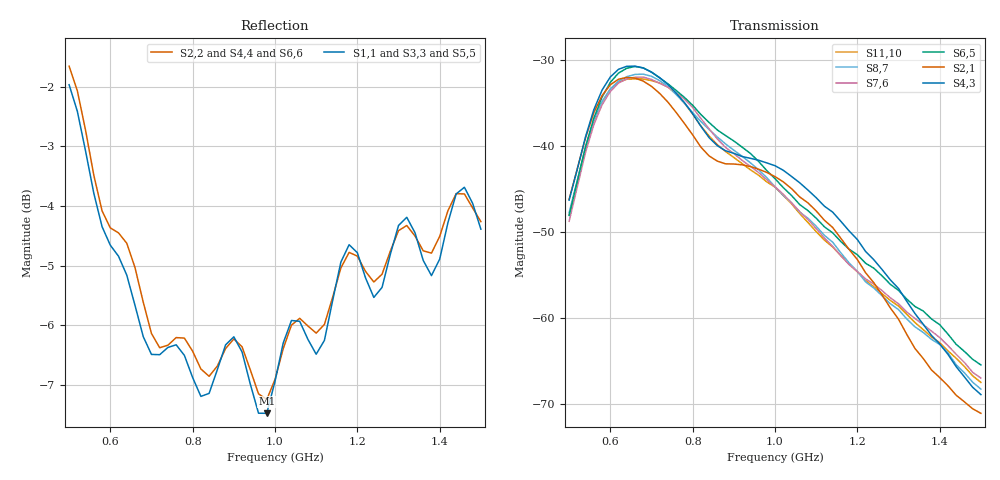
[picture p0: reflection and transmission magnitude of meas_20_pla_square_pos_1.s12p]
! Converted from meas_20_pla_square_pos_1.mat
! MATLAB 5.0 MAT-file, Platform: PCWIN64, Created on: Sat Nov 21 15:32:18 2026
! Ports 1-12 = antennas 1-12; IFBW=1000 Hz, power=0 dBm, doCalibration flag=0
! SW_A serial 12410080206: antennas 1 3 5 7 9 11
! SW_B serial 12410080235: antennas 2 4 6 8 10 12
! WARNING: Sij (i!=j) between two odd or two even ports was NOT MEASURED (NaN in source).
! Those entries are written as 0 0 placeholders. Do not treat them as data.
! Reference impedance 50 ohm is assumed (not stored in source).
# Hz S RI R 50
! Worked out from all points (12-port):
!   51 points, 500 MHz to 1.5 GHz, reference 50 ohm
!   strongest paths, dB at 500 MHz, 740 MHz, 1 GHz, 1.26 GHz, 1.5 GHz:
!     S4,3: -46.3, -32.9, -42.3, -54.4, -68.9
!     S2,1: -46.3, -35.0, -43.6, -57.4, -71.1
!     S6,5: -48.1, -32.8, -43.8, -55.1, -65.5
!     S7,6: -48.8, -33.2, -44.8, -56.9, -67.0
!     S8,7: -47.8, -33.1, -44.8, -57.5, -68.3
!     S11,10: -48.1, -33.2, -44.8, -57.2, -67.5
!   lowest |S11| = -7.5 dB at 980 MHz (marker M1), VSWR 2.46, Z = 26.9 - j25.3 ohm
!   |S11| at or under -10 dB: nowhere
